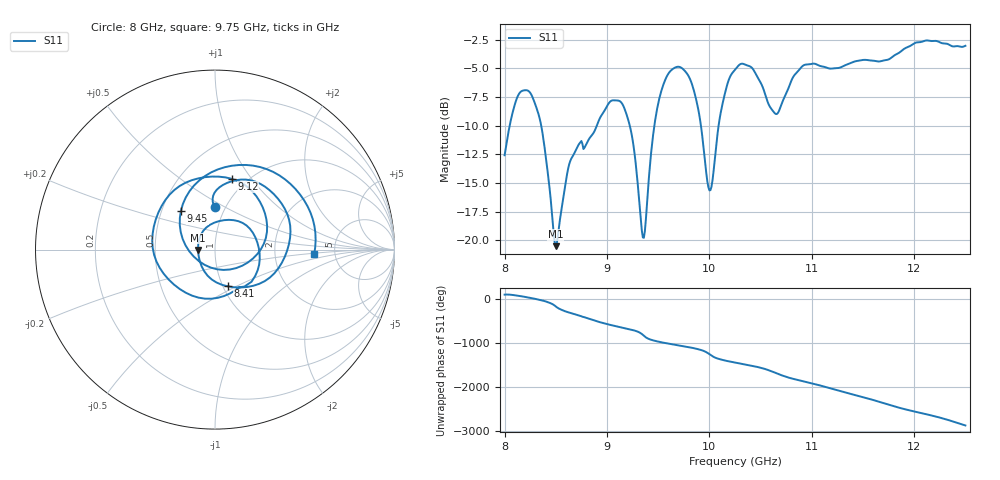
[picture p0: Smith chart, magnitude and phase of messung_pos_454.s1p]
#  HZ  S  RI  R  50.00
! Rohde & Schwarz Vector Network Analyzer
! Rohde-Schwarz,ZNA43-4Port,1332450044101932,2.92
! Created: UTC 6/1/2026, 11:33:43 AM
! freq[Hz]  re:S11  im:S11
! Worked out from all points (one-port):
!   451 points, 8 GHz to 12.5 GHz, reference 50 ohm
!   lowest |S11| = -20.5 dB at 8.5 GHz (marker M1), VSWR 1.21, Z = 41.4 - j0.234 ohm
!   |S11| at or under -10 dB: 8.357 GHz to 8.901 GHz (543.2 MHz wide, 6.3 % of centre); 9.222 GHz to 9.462 GHz (240.4 MHz wide, 2.57 % of centre); 9.917 GHz to 10.09 GHz (172.7 MHz wide, 1.73 % of centre)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
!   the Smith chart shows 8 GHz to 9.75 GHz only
!   S11 on the Smith chart (normalised r, x): 8 GHz: 0.89, +0.44; 8.41 GHz: 1.05, -0.45; 9.12 GHz: 0.86, +0.81; 9.45 GHz: 0.63, +0.29; 9.75 GHz: 3.46, -0.25
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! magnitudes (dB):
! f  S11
! 8 GHz  -12.6
! 8.12 GHz  -7.6
! 8.22 GHz  -6.9
! 8.33 GHz  -9.0
! 8.41 GHz  -13.3
! 8.5 GHz  -20.5
! 8.57 GHz  -16.5
! 8.63 GHz  -13.4
! 8.72 GHz  -11.7
! 9.12 GHz  -7.8
! 9.13 GHz  -7.9
! 9.24 GHz  -10.7
! 9.35 GHz  -19.7
! 9.38 GHz  -18.1
! 9.45 GHz  -10.8
! 9.55 GHz  -6.4
! 9.69 GHz  -4.9
! 9.75 GHz  -5.1
! 9.88 GHz  -8.1
! 10 GHz  -15.6
! 10.13 GHz  -8.0
! 10.25 GHz  -5.1
! 10.42 GHz  -5.0
! 10.65 GHz  -9.0
! 10.82 GHz  -5.7
! 11.38 GHz  -4.6
! 11.94 GHz  -3.1
! 12.5 GHz  -3.0
